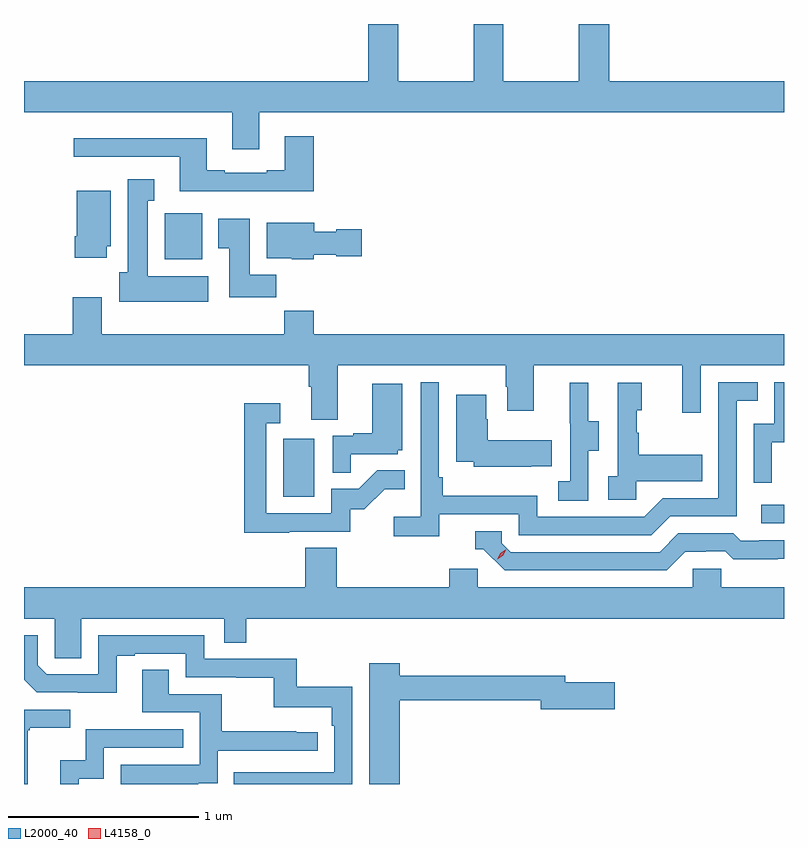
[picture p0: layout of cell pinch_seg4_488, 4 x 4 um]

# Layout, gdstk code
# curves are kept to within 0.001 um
import gdstk
lib = gdstk.Library(unit=1e-6, precision=1e-09)
def R(c, l, rs):  # rectangles x0, y0, x1, y1
    for r in rs: c.add(gdstk.rectangle(r[:2], r[2:], *l))
def P(c, l, *ps):  # polygons
    for p in ps: c.add(gdstk.Polygon(p, *l))
L2000_40 = (2000, 40)
L4158_0 = (4158, 0)

pinch_seg4_488 = lib.new_cell('pinch_seg4_488')
R(pinch_seg4_488, L2000_40, [(938.619,752.034,938.74,752.13), (936.104,752.172,936.268,752.479), (935.48,753.422,935.677,753.664)])
P(pinch_seg4_488, L2000_40, [(935.977,754.196),(938.74,754.196),(938.74,754.36),(937.82,754.36),(937.82,754.661),(937.66,754.661),(937.66,754.36),(937.262,754.36),(937.262,754.661),(937.108,754.661),(937.108,754.36),(936.71,754.36),(936.71,754.661),(936.551,754.661),(936.551,754.36),(934.74,754.36),(934.74,754.196),(935.837,754.196),(935.837,754.002),(935.977,754.002)],
  [(936.266,754.069),(936.113,754.069),(936.113,753.892),(936.017,753.892),(936.017,753.879),(935.797,753.879),(935.797,753.892),(935.701,753.892),(935.701,754.06),(935.001,754.06),(935.001,753.963),(935.561,753.963),(935.561,753.782),(936.266,753.782)],
  [(935.71,753.334),(935.392,753.334),(935.392,753.731),(935.425,753.731),(935.425,753.844),(935.285,753.844),(935.285,753.354),(935.24,753.354),(935.24,753.2),(935.71,753.2)],
  [(935.176,753.492),(935.197,753.492),(935.197,753.784),(935.018,753.784),(935.018,753.544),(935.006,753.544),(935.006,753.432),(935.176,753.432)],
  [(936.068,753.34),(935.929,753.34),(935.929,753.637),(935.762,753.637),(935.762,753.481),(935.819,753.481),(935.819,753.222),(936.068,753.222)],
  [(936.264,753.446),(936.384,753.446),(936.384,753.439),(936.517,753.439),(936.517,753.581),(936.384,753.581),(936.384,753.568),(936.268,753.568),(936.268,753.616),(936.017,753.616),(936.017,753.428),(936.15,753.428),(936.15,753.422),(936.264,753.422)],
  [(936.391,752.864),(937.276,752.864),(937.276,752.753),(937.283,752.753),(937.283,752.625),(937.423,752.625),(937.423,752.864),(938.204,752.864),(938.204,752.616),(938.301,752.616),(938.301,752.864),(938.74,752.864),(938.74,753.028),(936.266,753.028),(936.266,753.152),(936.109,753.152),(936.109,753.028),(935.149,753.028),(935.149,753.223),(934.997,753.223),(934.997,753.028),(934.74,753.028),(934.74,752.864),(936.239,752.864),(936.239,752.752),(936.251,752.752),(936.251,752.578),(936.391,752.578)],
  [(936.926,752.082),(937.344,752.082),(937.344,751.971),(938.041,751.971),(938.14,752.07),(938.49,752.07),(938.49,752.679),(938.603,752.679),(938.603,752.775),(938.394,752.775),(938.394,752.166),(938.103,752.166),(938.004,752.067),(937.44,752.067),(937.44,752.179),(936.944,752.179),(936.944,752.275),(936.924,752.275),(936.924,752.776),(936.828,752.776),(936.828,752.068),(936.687,752.068),(936.687,751.966),(936.926,751.966)],
  [(938.676,752.459),(938.74,752.459),(938.74,752.775),(938.688,752.775),(938.688,752.556),(938.58,752.556),(938.58,752.247),(938.676,752.247)],
  [(937.71,752.416),(937.765,752.416),(937.765,752.571),(937.711,752.571),(937.711,752.773),(937.613,752.773),(937.613,752.559),(937.614,752.559),(937.614,752.255),(937.551,752.255),(937.551,752.152),(937.71,752.152)],
  [(937.962,752.255),(938.309,752.255),(938.309,752.395),(937.975,752.395),(937.975,752.51),(937.965,752.51),(937.965,752.628),(937.99,752.628),(937.99,752.773),(937.866,752.773),(937.866,752.282),(937.815,752.282),(937.815,752.157),(937.962,752.157)],
  [(936.461,752.397),(936.708,752.397),(936.708,752.418),(936.73,752.418),(936.73,752.767),(936.572,752.767),(936.572,752.506),(936.473,752.506),(936.473,752.493),(936.366,752.493),(936.366,752.299),(936.461,752.299)],
  [(937.409,752.333),(937.517,752.333),(937.517,752.47),(937.182,752.47),(937.182,752.582),(937.174,752.582),(937.174,752.71),(937.016,752.71),(937.016,752.357),(937.107,752.357),(937.107,752.33),(937.409,752.33)],
  [(936.137,751.989),(936.456,751.989),(936.456,752.106),(936.532,752.106),(936.639,752.213),(936.743,752.213),(936.743,752.312),(936.599,752.312),(936.501,752.214),(936.357,752.214),(936.357,752.085),(936.015,752.085),(936.015,752.559),(936.088,752.559),(936.088,752.665),(935.899,752.665),(935.899,751.984),(936.137,751.984)],
  [(938.221,751.884),(938.328,751.884),(938.328,751.887),(938.431,751.887),(938.473,751.845),(938.706,751.845),(938.706,751.847),(938.74,751.847),(938.74,751.944),(938.611,751.944),(938.611,751.941),(938.512,751.941),(938.473,751.98),(938.184,751.98),(938.085,751.881),(937.302,751.881),(937.254,751.929),(937.254,751.992),(937.115,751.992),(937.115,751.896),(937.158,751.896),(937.269,751.785),(938.122,751.785)],
  [(935.041,751.532),(935.793,751.532),(935.793,751.405),(935.909,751.405),(935.909,751.532),(938.74,751.532),(938.74,751.696),(938.409,751.696),(938.409,751.794),(938.259,751.794),(938.259,751.696),(937.128,751.696),(937.128,751.794),(936.977,751.794),(936.977,751.696),(936.386,751.696),(936.386,751.904),(936.221,751.904),(936.221,751.696),(934.74,751.696),(934.74,751.532),(934.902,751.532),(934.902,751.324),(935.041,751.324)],
  [(936.468,751.174),(936.175,751.174),(936.175,751.32),(935.688,751.32),(935.688,751.443),(935.13,751.443),(935.13,751.239),(934.86,751.239),(934.812,751.287),(934.812,751.443),(934.74,751.443),(934.74,751.209),(934.806,751.143),(935.227,751.142),(935.227,751.335),(935.323,751.335),(935.323,751.347),(935.592,751.347),(935.592,751.224),(935.857,751.224),(935.857,751.219),(936.054,751.219),(936.054,751.064),(936.359,751.064),(936.359,750.968),(936.372,750.968),(936.372,750.723),(935.845,750.724),(935.845,750.661),(936.468,750.661)],
  [(936.718,751.102),(937.46,751.102),(937.46,751.055),(937.849,751.055),(937.849,751.197),(937.588,751.197),(937.588,751.231),(936.718,751.231),(936.718,751.297),(936.557,751.297),(936.557,750.661),(936.718,750.661)],
  [(935.657,750.665),(935.76,750.665),(935.76,750.837),(936.286,750.837),(936.286,750.933),(936.173,750.933),(936.173,750.938),(935.78,750.938),(935.78,751.134),(935.503,751.134),(935.503,751.262),(935.363,751.262),(935.363,751.038),(935.664,751.038),(935.664,750.762),(935.248,750.762),(935.248,750.661),(935.657,750.661)],
  [(934.759,750.945),(934.771,750.945),(934.771,750.956),(934.984,750.956),(934.984,751.053),(934.74,751.053),(934.74,750.661),(934.759,750.661)],
  [(935.028,750.689),(935.16,750.689),(935.16,750.852),(935.579,750.852),(935.579,750.948),(935.064,750.948),(935.064,750.787),(934.931,750.787),(934.931,750.661),(935.028,750.661)])
P(pinch_seg4_488, L4158_0, [(937.23,751.843),(937.23,751.844),(937.246,751.876),(937.277,751.896),(937.277,751.896),(937.277,751.896),(937.261,751.863),(937.23,751.843)])

lib.write_gds('pinch_seg4_488.gds')
